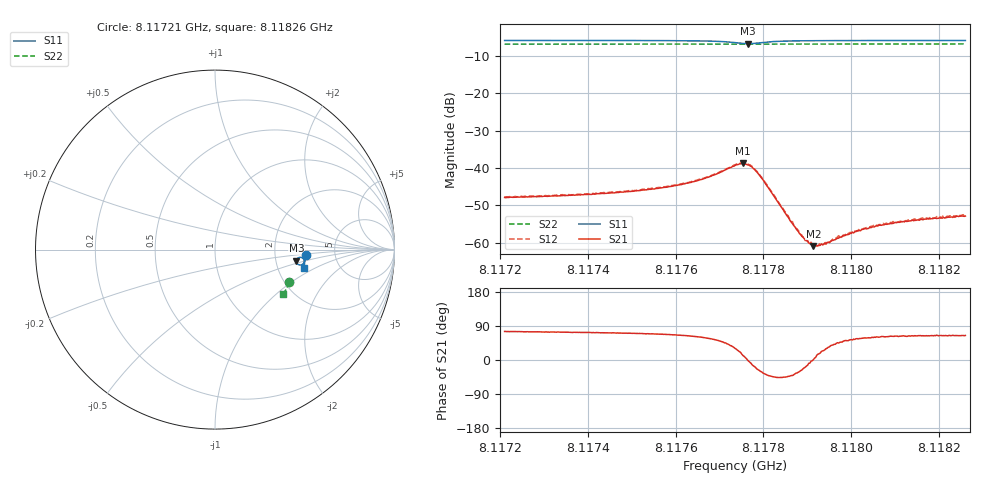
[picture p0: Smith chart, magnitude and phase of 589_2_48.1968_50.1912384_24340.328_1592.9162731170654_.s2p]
#  HZ  S  RI  R  50.00
! Rohde & Schwarz Vector Network Analyzer
! Rohde-Schwarz,ZNB20-2Port,1311601062101988,3.16
! Created: UTC 3/20/2024, 12:02:31 PM
! freq[Hz]  re:S11  im:S11  re:S21  im:S21  re:S12  im:S12  re:S22  im:S22
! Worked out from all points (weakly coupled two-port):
!   401 points, 8.11721 GHz to 8.11826 GHz, reference 50 ohm
!   highest |S21| = -38.80 dB at 8.117753 GHz (marker M1); lowest = -60.8 dB at 8.117914 GHz (marker M2)
!   lowest |S11| = -6.8 dB at 8.117764 GHz (marker M3), VSWR 2.69, Z = 131 - j20.5 ohm
!   |S11| at or under -10 dB: nowhere
!   |S22| runs from -6.9 to -6.8 dB; largest |S21 - S12| = 0.00039
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8.1172099e9  0.5056 -0.0316  0.00102 0.0039  0.00107 0.00396  0.4137 -0.1824
8.1173858e9  0.5039 -0.0465  0.0013 0.0042  0.00139 0.00427  0.409 -0.1937
8.1175618e9  0.5004 -0.0636  0.00199 0.00497  0.00207 0.00507  0.4038 -0.2053
8.1176616e9  0.4931 -0.0773  0.00356 0.00613  0.00371 0.00623  0.4006 -0.2116
8.1177351e9  0.4662 -0.0843  0.00926 0.00549  0.00942 0.0057  0.3972 -0.2162
8.1177535e9  0.455 -0.0727  0.0113 0.00232  0.0114 0.00238  0.3962 -0.2165
8.117764e9  0.4534 -0.062  0.011 -0.000115  0.0113 -3.28e-05  0.396 -0.2166
8.1177771e9  0.4587 -0.05  0.00944 -0.0026  0.00956 -0.00278  0.396 -0.2169
8.1177955e9  0.4728 -0.0429  0.00628 -0.00379  0.00632 -0.00412  0.3962 -0.2179
8.1178638e9  0.4958 -0.0568  0.00141 -0.00122  0.00146 -0.00128  0.3949 -0.2228
8.11789e9  0.4978 -0.0619  0.0011 -0.00047  0.00106 -0.000504  0.3941 -0.2245
8.1179005e9  0.4982 -0.0637  0.00102 -0.000253  0.00105 -0.000232  0.3938 -0.2254
8.1179111e9  0.4985 -0.0654  0.000926 -3.31e-05  0.000956 -5.94e-06  0.3936 -0.226
8.1179137e9  0.4986 -0.0658  0.000908 8.48e-06  0.000966 2.72e-05  0.3935 -0.2262
8.1179216e9  0.4987 -0.0672  0.000888 0.000198  0.000885 0.000155  0.3932 -0.2268
8.1179478e9  0.4991 -0.0708  0.000846 0.000563  0.000835 0.00057  0.3923 -0.2285
8.1179662e9  0.4991 -0.073  0.000807 0.000784  0.000833 0.000779  0.3918 -0.2297
8.1179925e9  0.499 -0.0761  0.000808 0.000992  0.000815 0.00106  0.3908 -0.2312
8.1180292e9  0.4988 -0.0801  0.000806 0.0013  0.000847 0.00131  0.3896 -0.2337
8.118087e9  0.4981 -0.0856  0.000829 0.00158  0.000843 0.00161  0.3878 -0.2372
8.1181605e9  0.4971 -0.092  0.000912 0.00184  0.000931 0.00192  0.385 -0.2419
8.1182603e9  0.4956 -0.1005  0.000968 0.00205  0.000984 0.0021  0.3815 -0.2479
